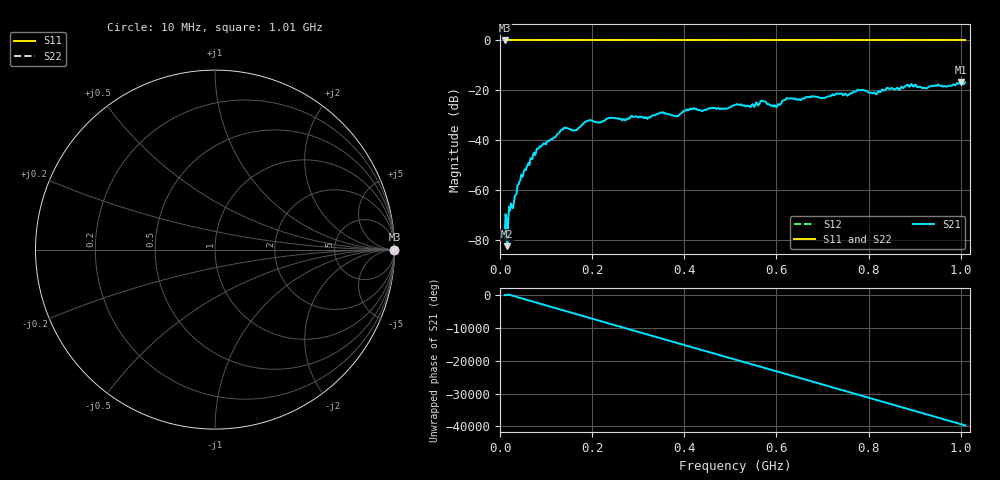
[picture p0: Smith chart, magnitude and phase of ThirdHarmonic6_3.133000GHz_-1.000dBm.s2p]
! 8/17/2025 9:19:59 AM
! C:\ANRITSUVNA\TEMP\TEMP.S2P
! CHANNEL.1
! TR.MEASUREMENT
! RAW.DATA
! RF.CORRECTION.OFF
! AVERAGING.OFF
! IF.BANDWIDTH: 5KHZ
! SWEEPTYPE:  FREQ.SWEEP(Linear)
! Reference Plane Port Info
! PORT:  PORT1  PORT2
! DISTANCE:  0  m  0  m
! TIME:  0  s  0  s
! PHASE.OFFSET:  0  deg.  0  deg.
! LOSS:  0  dB  0  dB
! REF.LOSS:  0  dB  0  dB
! REF.FREQ:  0  Hz  0  Hz
! Power Info
! POWER:  -20  dBm  -20  dBm
! EFF.POWER:  -20  dBm  -20  dBm
! SOURCE.ATTEN:  0  dB  0  dB
! TEST.ATTEN:  0  dB  0  dB
# GHZ S RI R 50.0
! FREQ.GHZ  S11RE  S11IM  S21RE  S21IM  S12RE  S12IM  S22RE  S22IM
!; PortSelection: Port_12
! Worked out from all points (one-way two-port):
!   501 points, 10 MHz to 1.01 GHz, reference 50 ohm
!   highest |S21| = -16.70 dB at 1 GHz (marker M1); lowest = -82.6 dB at 16 MHz (marker M2)
!   lowest |S11| = 0.0 dB at 10 MHz (marker M3)
!   |S11| at or under -10 dB: nowhere
!   |S22| runs from 0.0 to 0.0 dB; largest |S21 - S12| = 1.1
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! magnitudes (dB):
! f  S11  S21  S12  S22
! 10 MHz  0.0  -79.8  0.0  0.0
! 12 MHz  0.0  -69.8  0.0  0.0
! 16 MHz  0.0  -82.6  0.0  0.0
! 42 MHz  0.0  -56.8  0.0  0.0
! 84 MHz  0.0  -43.3  0.0  0.0
! 136 MHz  0.0  -35.8  0.0  0.0
! 162 MHz  0.0  -36.1  0.0  0.0
! 178 MHz  0.0  -33.8  0.0  0.0
! 344 MHz  0.0  -29.4  0.0  0.0
! 382 MHz  0.0  -30.5  0.0  0.0
! 416 MHz  0.0  -27.6  0.0  0.0
! 510 MHz  0.0  -25.9  0.0  0.0
! 548 MHz  0.0  -25.6  0.0  0.0
! 570 MHz  0.0  -24.3  0.0  0.0
! 596 MHz  0.0  -26.0  0.0  0.0
! 624 MHz  0.0  -23.2  0.0  0.0
! 678 MHz  0.0  -22.6  0.0  0.0
! 780 MHz  0.0  -20.0  0.0  0.0
! 814 MHz  0.0  -21.1  0.0  0.0
! 844 MHz  0.0  -19.5  0.0  0.0
! 1 GHz  0.0  -16.7  0.0  0.0
! 1.01 GHz  0.0  -16.9  0.0  0.0
